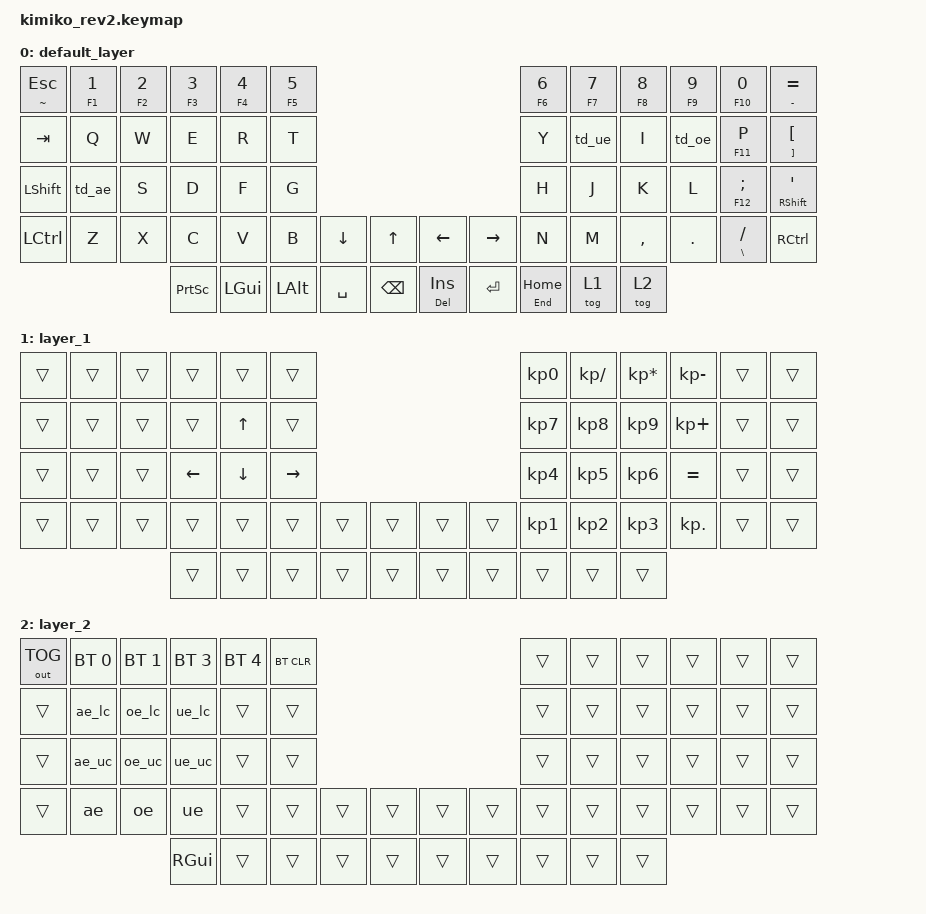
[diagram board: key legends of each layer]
#include <behaviors.dtsi>
#include <dt-bindings/zmk/bt.h>
#include <dt-bindings/zmk/keys.h>
#include <dt-bindings/zmk/outputs.h>

/ {
    macros {
        ae_lc: de_ae_lower_case {
            compatible = "zmk,behavior-macro";
            #binding-cells = <0>;
            wait-ms = <40>;
            tap-ms = <40>;
            bindings =
                <&macro_press>,
                <&kp LALT>,
                <&macro_tap>,
                <&kp KP_N1 &kp KP_N3 &kp KP_N2>,
                <&macro_release>,
                <&kp LALT>;
        };

        ae_uc: de_ae_upper_case {
            compatible = "zmk,behavior-macro";
            #binding-cells = <0>;
            wait-ms = <40>;
            tap-ms = <40>;
            bindings =
                <&macro_press>,
                <&kp LALT>,
                <&macro_tap>,
                <&kp KP_N1 &kp KP_N4 &kp KP_N2>,
                <&macro_release>,
                <&kp LALT>;
        };

        oe_lc: de_oe_lower_case {
            compatible = "zmk,behavior-macro";
            #binding-cells = <0>;
            wait-ms = <40>;
            tap-ms = <40>;
            bindings =
                <&macro_press>,
                <&kp LALT>,
                <&macro_tap>,
                <&kp KP_N1 &kp KP_N4 &kp KP_N8>,
                <&macro_release>,
                <&kp LALT>;
        };

        oe_uc: de_oe_upper_case {
            compatible = "zmk,behavior-macro";
            #binding-cells = <0>;
            wait-ms = <40>;
            tap-ms = <40>;
            bindings =
                <&macro_press>,
                <&kp LALT>,
                <&macro_tap>,
                <&kp KP_N1 &kp KP_N5 &kp KP_N3>,
                <&macro_release>,
                <&kp LALT>;
        };

        ue_lc: de_ue_lower_case {
            compatible = "zmk,behavior-macro";
            #binding-cells = <0>;
            wait-ms = <40>;
            tap-ms = <40>;
            bindings =
                <&macro_press>,
                <&kp LALT>,
                <&macro_tap>,
                <&kp KP_N1 &kp KP_N2 &kp KP_N9>,
                <&macro_release>,
                <&kp LALT>;
        };

        ue_uc: de_ue_upper_case {
            compatible = "zmk,behavior-macro";
            #binding-cells = <0>;
            wait-ms = <40>;
            tap-ms = <40>;
            bindings =
                <&macro_press>,
                <&kp LALT>,
                <&macro_tap>,
                <&kp KP_N1 &kp KP_N5 &kp KP_N4>,
                <&macro_release>,
                <&kp LALT>;
        };
    };

    behaviors {
        td_ae: td_de_ae {
            compatible = "zmk,behavior-tap-dance";
            #binding-cells = <0>;
            tapping-term-ms = <200>;
            bindings = <&kp A>, <&ae_lc>, <&ae_uc>;
        };

        td_oe: td_de_oe {
            compatible = "zmk,behavior-tap-dance";
            #binding-cells = <0>;
            tapping-term-ms = <200>;
            bindings = <&kp O>, <&oe_lc>, <&oe_uc>;
        };

        td_ue: td_de_ue {
            compatible = "zmk,behavior-tap-dance";
            #binding-cells = <0>;
            tapping-term-ms = <200>;
            bindings = <&kp U>, <&ue_lc>, <&ue_uc>;
        };

        ae: de_ae {
            compatible = "zmk,behavior-mod-morph";
            #binding-cells = <0>;
            bindings = <&ae_lc>, <&ae_uc>;

            mods = <(MOD_LCTL|MOD_RCTL|MOD_LGUI|MOD_RGUI|MOD_LSFT|MOD_RSFT)>;
        };

        oe: de_oe {
            compatible = "zmk,behavior-mod-morph";
            #binding-cells = <0>;
            bindings = <&oe_lc>, <&oe_uc>;

            mods = <(MOD_LSFT|MOD_RSFT)>;
        };

        ue: de_ue {
            compatible = "zmk,behavior-mod-morph";
            #binding-cells = <0>;
            bindings = <&ue_lc>, <&ue_uc>;

            mods = <(MOD_LSFT|MOD_RSFT)>;
        };

        ht_tp: hold_tap_tap_preferred {
            compatible = "zmk,behavior-hold-tap";
            #binding-cells = <2>;
            flavor = "tap-preferred";
            tapping-term-ms = <200>;
            quick-tap-ms = <200>;
            require-prior-idle-ms = <400>;
            bindings = <&kp>, <&kp>;
        };
    };

    keymap {
        compatible = "zmk,keymap";

        default_layer {
            bindings = <
&mt TILDE ESC  &ht_tp F1 N1  &ht_tp F2 N2  &ht_tp F3 N3     &ht_tp F4 N4  &ht_tp F5 N5                                                    &ht_tp F6 N6  &ht_tp F7 N7  &ht_tp F8 N8  &ht_tp F9 N9  &ht_tp F10 N0    &mt MINUS EQUAL
&kp TAB        &kp Q         &kp W         &kp E            &kp R         &kp T                                                           &kp Y         &td_ue        &kp I         &td_oe        &ht_tp F11 P     &mt RBKT LBKT
&kp LSHIFT     &td_ae        &kp S         &kp D            &kp F         &kp G                                                           &kp H         &kp J         &kp K         &kp L         &ht_tp F12 SEMI  &mt RSHFT APOS
&kp LCTRL      &kp Z         &kp X         &kp C            &kp V         &kp B         &kp DOWN   &kp UP         &kp LEFT     &kp RIGHT  &kp N         &kp M         &kp COMMA     &kp DOT       &mt BSLH FSLH    &kp RCTRL
                                           &kp PRINTSCREEN  &kp LGUI      &kp LALT      &kp SPACE  &kp BACKSPACE  &mt DEL INS  &kp RET    &mt END HOME  &tog 1        &tog 2
            >;
        };

        layer_1 {
            bindings = <
&trans  &trans  &trans  &trans    &trans    &trans                                     &kp KP_N0  &kp KP_DIVIDE  &kp KP_MULTIPLY  &kp KP_MINUS  &trans  &trans
&trans  &trans  &trans  &trans    &kp UP    &trans                                     &kp KP_N7  &kp KP_N8      &kp KP_N9        &kp KP_PLUS   &trans  &trans
&trans  &trans  &trans  &kp LEFT  &kp DOWN  &kp RIGHT                                  &kp KP_N4  &kp KP_N5      &kp KP_N6        &kp EQUAL     &trans  &trans
&trans  &trans  &trans  &trans    &trans    &trans     &trans  &trans  &trans  &trans  &kp KP_N1  &kp KP_N2      &kp KP_N3        &kp KP_DOT    &trans  &trans
                        &trans    &trans    &trans     &trans  &trans  &trans  &trans  &trans     &trans         &trans
            >;
        };

        layer_2 {
            bindings = <
&out OUT_TOG  &bt BT_SEL 0  &bt BT_SEL 1  &bt BT_SEL 3  &bt BT_SEL 4  &bt BT_CLR                                  &trans  &trans  &trans  &trans  &trans  &trans
&trans        &ae_lc        &oe_lc        &ue_lc        &trans        &trans                                      &trans  &trans  &trans  &trans  &trans  &trans
&trans        &ae_uc        &oe_uc        &ue_uc        &trans        &trans                                      &trans  &trans  &trans  &trans  &trans  &trans
&trans        &ae           &oe           &ue           &trans        &trans      &trans  &trans  &trans  &trans  &trans  &trans  &trans  &trans  &trans  &trans
                                          &kp RGUI      &trans        &trans      &trans  &trans  &trans  &trans  &trans  &trans  &trans
            >;
        };
    };

    conditional_layers {
        compatible = "zmk,conditional-layers";

        default {
            if-layers = <0>;
            then-layer = <0>;
        };

        layer1 {
            if-layers = <1>;
            then-layer = <1>;
        };

        layer2 {
            if-layers = <2>;
            then-layer = <2>;
        };
    };
};
